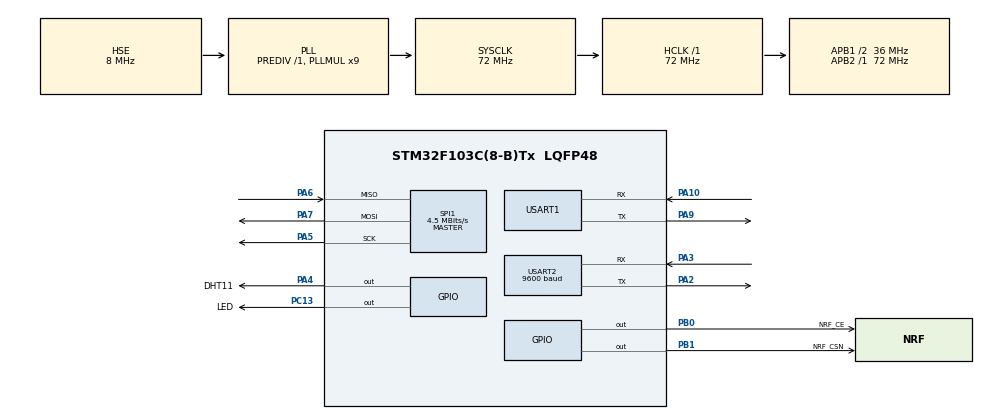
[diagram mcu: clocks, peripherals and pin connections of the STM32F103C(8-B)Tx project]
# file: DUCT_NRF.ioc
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Mcu.Family=STM32F1
Mcu.Name=STM32F103C(8-B)Tx
Mcu.Package=LQFP48
NVIC.PriorityGroup=NVIC_PRIORITYGROUP_4
NVIC.USART1_IRQn=true\:0\:0\:false\:false\:true\:true\:true\:true
NVIC.USART2_IRQn=true\:0\:0\:false\:false\:true\:true\:true\:true
PA10.Mode=Asynchronous
PA10.Signal=USART1_RX
PA13.Mode=Serial_Wire
PA13.Signal=SYS_JTMS-SWDIO
PA14.Mode=Serial_Wire
PA14.Signal=SYS_JTCK-SWCLK
PA2.Mode=Asynchronous
PA2.Signal=USART2_TX
PA3.Mode=Asynchronous
PA3.Signal=USART2_RX
PA4.GPIO_Label=DHT11
PA4.Signal=GPIO_Output
PA5.Mode=Full_Duplex_Master
PA5.Signal=SPI1_SCK
PA6.Mode=Full_Duplex_Master
PA6.Signal=SPI1_MISO
PA7.Mode=Full_Duplex_Master
PA7.Signal=SPI1_MOSI
PA9.Mode=Asynchronous
PA9.Signal=USART1_TX
PB0.GPIO_Label=NRF_CE
PB0.Signal=GPIO_Output
PB1.GPIO_Label=NRF_CSN
PB1.Signal=GPIO_Output
PC13-TAMPER-RTC.GPIO_Label=LED
PC13-TAMPER-RTC.Signal=GPIO_Output
PC14-OSC32_IN.Mode=LSE-External-Oscillator
PC14-OSC32_IN.Signal=RCC_OSC32_IN
PC15-OSC32_OUT.Mode=LSE-External-Oscillator
PC15-OSC32_OUT.Signal=RCC_OSC32_OUT
PD0-OSC_IN.Mode=HSE-External-Oscillator
PD0-OSC_IN.Signal=RCC_OSC_IN
PD1-OSC_OUT.Mode=HSE-External-Oscillator
PD1-OSC_OUT.Signal=RCC_OSC_OUT
ProjectManager.HeapSize=0x200
ProjectManager.StackSize=0x400
ProjectManager.TargetToolchain=STM32CubeIDE
RCC.AHBFreq_Value=72000000
RCC.APB1CLKDivider=RCC_HCLK_DIV2
RCC.APB1Freq_Value=36000000
RCC.APB1TimFreq_Value=72000000
RCC.APB2Freq_Value=72000000
RCC.APB2TimFreq_Value=72000000
RCC.HCLKFreq_Value=72000000
RCC.PLLMUL=RCC_PLL_MUL9
RCC.PLLSourceVirtual=RCC_PLLSOURCE_HSE
RCC.SYSCLKFreq_VALUE=72000000
RCC.SYSCLKSource=RCC_SYSCLKSOURCE_PLLCLK
RCC.USBFreq_Value=72000000
SPI1.BaudRatePrescaler=SPI_BAUDRATEPRESCALER_16
SPI1.CalculateBaudRate=4.5 MBits/s
SPI1.Direction=SPI_DIRECTION_2LINES
SPI1.Mode=SPI_MODE_MASTER
SPI1.VirtualType=VM_MASTER
TIM1.Prescaler=72-1
USART1.VirtualMode=VM_ASYNC
USART2.BaudRate=9600
USART2.VirtualMode=VM_ASYNC
VP_TIM1_VS_ClockSourceINT.Mode=Internal
board=custom

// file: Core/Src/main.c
/* USER CODE BEGIN Header */
/**
 ******************************************************************************
 * @file           : main.c
 * @brief          : Main program body
 ******************************************************************************
 * @attention
 *
 * Copyright (c) 2024 STMicroelectronics.
 * All rights reserved.
 *
 * This software is licensed under terms that can be found in the LICENSE file
 * in the root directory of this software component.
 * If no LICENSE file comes with this software, it is provided AS-IS.
 *
 ******************************************************************************
 */
/* USER CODE END Header */
#include "main.h"
#include "spi.h"
#include "tim.h"
#include "usart.h"
#include "gpio.h"

/* USER CODE BEGIN Includes */
#include "DHT11.h"
#include "C02_HC8.h"
#include "MY_NRF24.h"
#include "nrf_helper.h"
#include "ee.h"
#include "utility.h"
/* USER CODE END Includes */

void SystemClock_Config(void);

/* USER CODE BEGIN 0 */

//GLOBAL VARIABLES
uint8_t r; //FOR HUART2 INTERRUPT

/*============HANDLE DEBUG PORT DATA===============*/
uint8_t rx_buffer_pos;
uint8_t rx_data[2];
uint8_t received_data_from_UART[32];
bool data_avlbl_from_UART_to_read = false;

//NRF CREDENTAILS
extern uint64_t My_Pipe_Address;
extern uint8_t My_Channel_Num;
extern uint64_t target_pipe_addr;
extern uint8_t target_channel_addr;
extern char my_node_id[2];

/* USER CODE END 0 */

int main(void) {

	/* MCU Configuration--------------------------------------------------------*/

	/* Reset of all peripherals, Initializes the Flash interface and the Systick. */
	HAL_Init();

	/* Configure the system clock */
	SystemClock_Config();

	/* Initialize all configured peripherals */
	MX_GPIO_Init();
	MX_TIM1_Init();
	MX_USART2_UART_Init();
	MX_SPI1_Init();
	MX_USART1_UART_Init();
	/* USER CODE BEGIN 2 */
	HAL_TIM_Base_Start(&htim1);
	HAL_UART_Receive_IT(&huart2, &r, 1); //for C02
	HAL_UART_Receive_IT(Debug_Port, (uint8_t*) rx_data, 1); //FOR DEBUG

	//Read PIPE ADDRESS / CHANNEL NUMBER data from flash memory
	uint64_t READ_PIPE_ADRESS = ee_read_64(FLASH_ADDR_4_PIPE_ADDR_FOR_NRF);
	My_Pipe_Address = READ_PIPE_ADRESS;
	My_Channel_Num = ee_read_16(FLASH_ADDR_4_Self_Channel);
	target_pipe_addr = READ_PIPE_ADRESS;

	target_pipe_addr = READ_PIPE_ADRESS;
	target_channel_addr = My_Channel_Num;

	uint16_t my_device_id = ee_read_16(FLASH_ADDR_4_DEVICE_ID);
	// Split the uint16_t value into two uint8_t values
	my_node_id[0] = my_device_id & 0xFF;         // Least significant byte
	my_node_id[1] = (my_device_id >> 8) & 0xFF;  // Most significant byte

	nrf_init();
	/* USER CODE END 2 */

	/* Infinite loop */
	while (1) {

		/* USER CODE BEGIN 3 */
		if (NRF24_available()) {
			Manage_NRF_Data();
		}
		//=====HANDLE UART DEBUG PORT DATA
		if (data_avlbl_from_UART_to_read) {
			Print_Debug_Data(
					(char*) "\nMSG received from UART DEBUG PORT ::> ");
			HAL_UART_Transmit(&huart1, received_data_from_UART, 32, 100);
			Print_Debug_Data((char*) "\n");
			Manage_Received_Data_From_UART((uint8_t*) received_data_from_UART,
					32);
			//AFTER USING THE DATA CLEAR THE RX BUFFER
			uint8_t i;
			if (rx_buffer_pos == 0) { //RESET THE BUFFER ONLY WHEN RX { BUFFER == 0 }
				for (i = 0; i < 20; i++)
					received_data_from_UART[i] = 0;
			}
			data_avlbl_from_UART_to_read = false;
		}
		DHT11_READ_TEMP_AND_HUM();
		HAL_GPIO_TogglePin(LED_GPIO_Port, LED_Pin);
		HAL_Delay(100);
	}
	/* USER CODE END 3 */
}

void SystemClock_Config(void) {
	RCC_OscInitTypeDef RCC_OscInitStruct = { 0 };
	RCC_ClkInitTypeDef RCC_ClkInitStruct = { 0 };

	/** Initializes the RCC Oscillators according to the specified parameters
	 * in the RCC_OscInitTypeDef structure.
	 */
	RCC_OscInitStruct.OscillatorType = RCC_OSCILLATORTYPE_HSE;
	RCC_OscInitStruct.HSEState = RCC_HSE_ON;
	RCC_OscInitStruct.HSEPredivValue = RCC_HSE_PREDIV_DIV1;
	RCC_OscInitStruct.HSIState = RCC_HSI_ON;
	RCC_OscInitStruct.PLL.PLLState = RCC_PLL_ON;
	RCC_OscInitStruct.PLL.PLLSource = RCC_PLLSOURCE_HSE;
	RCC_OscInitStruct.PLL.PLLMUL = RCC_PLL_MUL9;
	if (HAL_RCC_OscConfig(&RCC_OscInitStruct) != HAL_OK) {
		Error_Handler();
	}

	/** Initializes the CPU, AHB and APB buses clocks
	 */
	RCC_ClkInitStruct.ClockType = RCC_CLOCKTYPE_HCLK | RCC_CLOCKTYPE_SYSCLK
			| RCC_CLOCKTYPE_PCLK1 | RCC_CLOCKTYPE_PCLK2;
	RCC_ClkInitStruct.SYSCLKSource = RCC_SYSCLKSOURCE_PLLCLK;
	RCC_ClkInitStruct.AHBCLKDivider = RCC_SYSCLK_DIV1;
	RCC_ClkInitStruct.APB1CLKDivider = RCC_HCLK_DIV2;
	RCC_ClkInitStruct.APB2CLKDivider = RCC_HCLK_DIV1;

	if (HAL_RCC_ClockConfig(&RCC_ClkInitStruct, FLASH_LATENCY_2) != HAL_OK) {
		Error_Handler();
	}
}

/* USER CODE BEGIN 4 */
void HAL_UART_RxCpltCallback(UART_HandleTypeDef *huart) {
	if (huart->Instance == USART2) {
		PROCESS_C02(r);
	}
	if (huart->Instance == USART1) {
		if (rx_data[0] != '/') { //if it is not equal to 'COMMAND END' then write data into INCREMENTED POS of rx_buffer
			received_data_from_UART[rx_buffer_pos++] = rx_data[0];

		} else { // HERE IT MEANS if(rx_data[0] == '/') IF it is equal to 'COMMAND END' then clear the buffer, compare data and move on
			rx_buffer_pos = 0;
			//USE THE DATA RECEIVED FROM INTERRUTP HERE
			data_avlbl_from_UART_to_read = true;
			//process the data, and clear the buffer
		}
		HAL_UART_Receive_IT(&huart1, rx_data, 1); //REINIT THE UART INTERRUPT NOW
	}
}
/* USER CODE END 4 */

void Error_Handler(void) {
	__disable_irq();
	while (1) {
	}
}
